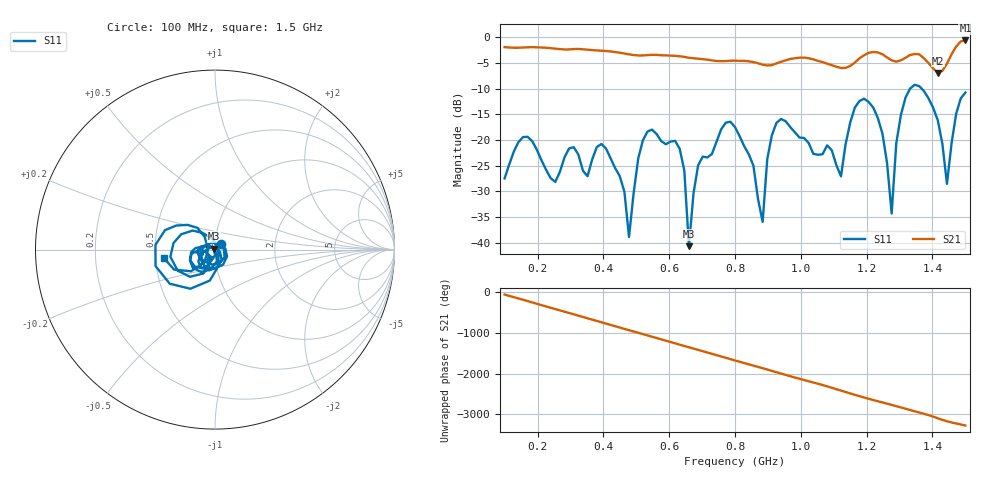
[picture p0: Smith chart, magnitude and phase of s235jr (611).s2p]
! NanoVNA-App
! Date: 2025-09-25 15:08:55
! Start: 100MHz Stop: 1,5GHz Points: 101
! S-Parameter data: F S11 S21 S12 S22
# Hz S RI R 50
!  Frequency  S11_Real  S11_Imag  S21_Real  S21_Imag  S12_Real  S12_Imag  S22_Real  S22_Imag
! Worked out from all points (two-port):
!   101 points, 100 MHz to 1.5 GHz, reference 50 ohm
!   highest |S21| = -0.67 dB at 1.5 GHz (marker M1); lowest = -7.0 dB at 1.416 GHz (marker M2)
!   |S21| within 3 dB of the highest: start of sweep to 619.3 MHz; 1.189 GHz to 1.255 GHz (65.95 MHz wide, 5.4 % of centre) (the widest 2 of 4)
!   lowest |S11| = -40.6 dB at 660 MHz (marker M3), VSWR 1.02, Z = 49.3 + j0.577 ohm
!   |S11| at or under -10 dB: start of sweep to 1.332 GHz; 1.367 GHz to end of sweep
!   S12 and S22 are empty: the file has one direction only
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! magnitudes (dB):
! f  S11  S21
! 100 MHz  -27.5  -2.0
! 156 MHz  -19.4  -2.0
! 338 MHz  -26.0  -2.4
! 408 MHz  -21.6  -2.7
! 478 MHz  -38.8  -3.4
! 520 MHz  -20.1  -3.6
! 576 MHz  -20.2  -3.5
! 632 MHz  -21.7  -3.7
! 660 MHz  -40.6  -4.0
! 688 MHz  -24.9  -4.2
! 800 MHz  -17.5  -4.6
! 884 MHz  -35.9  -5.4
! 926 MHz  -16.7  -5.1
! 1.038 GHz  -22.7  -4.3
! 1.122 GHz  -27.1  -6.0
! 1.206 GHz  -12.6  -3.1
! 1.248 GHz  -18.8  -3.4
! 1.276 GHz  -34.3  -4.5
! 1.318 GHz  -11.8  -4.0
! 1.416 GHz  -16.2  -7.0
! 1.444 GHz  -28.5  -5.2
! 1.5 GHz  -10.8  -0.7
